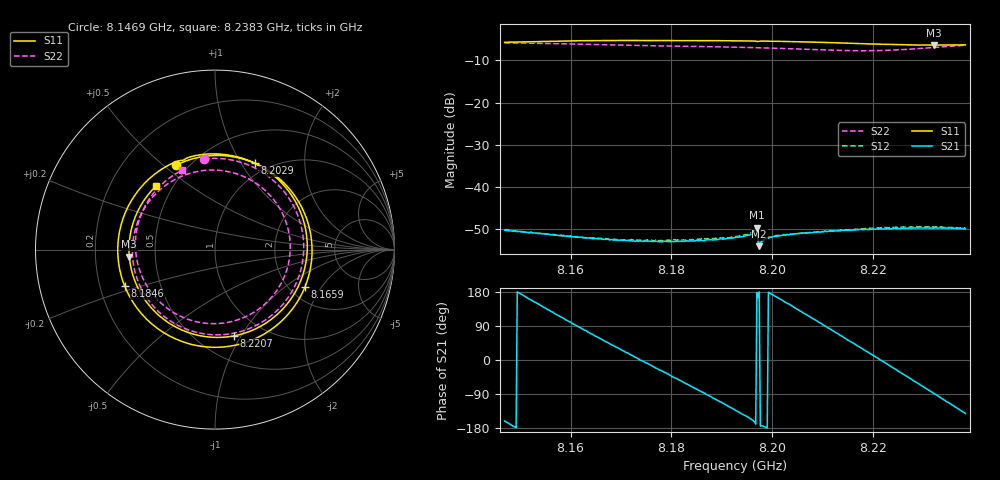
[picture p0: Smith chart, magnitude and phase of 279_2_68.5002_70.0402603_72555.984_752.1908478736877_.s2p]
#  HZ  S  RI  R  50.00
! Rohde & Schwarz Vector Network Analyzer
! Rohde-Schwarz,ZNB20-2Port,1311601062101988,3.16
! Created: UTC 3/20/2024, 5:01:05 PM
! freq[Hz]  re:S11  im:S11  re:S21  im:S21  re:S12  im:S12  re:S22  im:S22
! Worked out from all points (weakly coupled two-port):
!   401 points, 8.1469 GHz to 8.2383 GHz, reference 50 ohm
!   highest |S21| = -49.66 dB at 8.1969 GHz (marker M1); lowest = -54.1 dB at 8.1974 GHz (marker M2)
!   lowest |S11| = -6.4 dB at 8.2321 GHz (marker M3), VSWR 2.84, Z = 17.6 - j1.8 ohm
!   |S11| at or under -10 dB: nowhere
!   |S22| runs from -7.7 to -5.9 dB; largest |S21 - S12| = 0.00026
!   S11 on the Smith chart (normalised r, x): 8.1469 GHz: 0.43, +0.55; 8.1659 GHz: 2.40, -1.43; 8.1846 GHz: 0.31, -0.18; 8.2029 GHz: 0.86, +1.15; 8.2207 GHz: 0.74, -0.93; 8.2383 GHz: 0.41, +0.38
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8.146908e9  -0.2171 0.4705  -0.00289 -0.000989  -0.00292 -0.000953  -0.0612 0.505
8.150335e9  0.00811 0.5245  -0.0029 0.000365  -0.00291 0.000454  0.1574 0.4818
8.153762e9  0.2328 0.4767  -0.00232 0.00157  -0.00231 0.0016  0.3418 0.3696
8.158102e9  0.4517 0.2892  -0.00105 0.00242  -0.00105 0.00247  0.4775 0.1407
8.162215e9  0.5395 0.0308  0.000332 0.0025  0.000282 0.00252  0.4799 -0.1063
8.16587e9  0.5006 -0.2099  0.00135 0.00201  0.00134 0.00206  0.3831 -0.2989
8.172038e9  0.215 -0.5001  0.00224 0.000496  0.00232 0.000556  0.0768 -0.4705
8.177521e9  -0.1521 -0.5224  0.00202 -0.000982  0.00205 -0.001  -0.225 -0.4124
8.184603e9  -0.5029 -0.2042  0.000591 -0.0022  0.000589 -0.00228  -0.4511 -0.1007
8.188487e9  -0.5379 0.0619  -0.000479 -0.0023  -0.000563 -0.00237  -0.444 0.1131
8.1926e9  -0.4302 0.3256  -0.00167 -0.00186  -0.00178 -0.00188  -0.331 0.3096
8.196483e9  -0.2142 0.4908  -0.00289 -0.000834  -0.00298 -0.000749  -0.1475 0.4226
8.19694e9  -0.1818 0.4975  -0.00328 0.000136  -0.00338 0.000278  -0.1228 0.4295
8.197397e9  -0.1596 0.5088  -0.00198 1.34e-05  -0.002 0.000105  -0.098 0.435
8.20288e9  0.2201 0.4814  -0.00236 0.00135  -0.00233 0.00141  0.2041 0.385
8.207906e9  0.4661 0.2326  -0.000981 0.00269  -0.000933 0.00276  0.3916 0.1648
8.213846e9  0.4748 -0.1804  0.00142 0.00272  0.00149 0.00268  0.3694 -0.1866
8.2207e9  0.1061 -0.4808  0.00313 0.000348  0.00325 0.00025  0.0113 -0.4122
8.223213e9  -0.0749 -0.4815  0.0031 -0.000791  0.00313 -0.000959  -0.1546 -0.3871
8.22801e9  -0.3682 -0.3092  0.00188 -0.00266  0.0018 -0.0028  -0.3958 -0.1726
8.232123e9  -0.4775 -0.0393  6.54e-05 -0.00327  -0.000121 -0.00331  -0.4365 0.1082
8.238291e9  -0.3265 0.3559  -0.00248 -0.002  -0.00265 -0.00188  -0.1824 0.442
